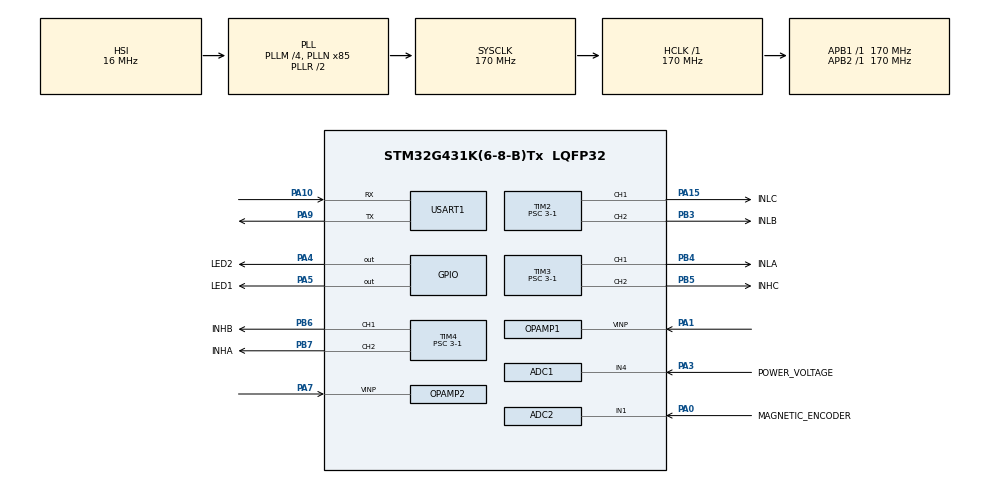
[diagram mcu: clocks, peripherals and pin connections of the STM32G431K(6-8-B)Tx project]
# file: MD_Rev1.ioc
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ADC1.Channel-1\#ChannelRegularConversion=ADC_CHANNEL_4
ADC1.Channel-2\#ChannelRegularConversion=ADC_CHANNEL_4
ADC1.ContinuousConvMode=ENABLE
ADC1.DMAContinuousRequests=ENABLE
ADC1.EOCSelection=ADC_EOC_SEQ_CONV
ADC1.NbrOfConversion=2
ADC1.NbrOfConversionFlag=1
ADC1.OffsetNumber-1\#ChannelRegularConversion=ADC_OFFSET_NONE
ADC1.OffsetNumber-2\#ChannelRegularConversion=ADC_OFFSET_NONE
ADC1.Rank-1\#ChannelRegularConversion=1
ADC1.Rank-2\#ChannelRegularConversion=2
ADC1.SamplingTime-1\#ChannelRegularConversion=ADC_SAMPLETIME_12CYCLES_5
ADC1.SamplingTime-2\#ChannelRegularConversion=ADC_SAMPLETIME_12CYCLES_5
ADC1.master=1
ADC2.Channel-0\#ChannelRegularConversion=ADC_CHANNEL_1
ADC2.Channel-1\#ChannelRegularConversion=ADC_CHANNEL_1
ADC2.ContinuousConvMode=ENABLE
ADC2.DMAContinuousRequests=ENABLE
ADC2.EOCSelection=ADC_EOC_SEQ_CONV
ADC2.NbrOfConversion=2
ADC2.NbrOfConversionFlag=1
ADC2.OffsetNumber-0\#ChannelRegularConversion=ADC_OFFSET_NONE
ADC2.OffsetNumber-1\#ChannelRegularConversion=ADC_OFFSET_NONE
ADC2.Rank-0\#ChannelRegularConversion=1
ADC2.Rank-1\#ChannelRegularConversion=2
ADC2.SamplingTime-0\#ChannelRegularConversion=ADC_SAMPLETIME_12CYCLES_5
ADC2.SamplingTime-1\#ChannelRegularConversion=ADC_SAMPLETIME_12CYCLES_5
Dma.ADC1.0.Direction=DMA_PERIPH_TO_MEMORY
Dma.ADC1.0.EventEnable=DISABLE
Dma.ADC1.0.Instance=DMA1_Channel1
Dma.ADC1.0.MemDataAlignment=DMA_MDATAALIGN_HALFWORD
Dma.ADC1.0.MemInc=DMA_MINC_ENABLE
Dma.ADC1.0.Mode=DMA_CIRCULAR
Dma.ADC1.0.PeriphDataAlignment=DMA_PDATAALIGN_HALFWORD
Dma.ADC1.0.PeriphInc=DMA_PINC_DISABLE
Dma.ADC1.0.Polarity=HAL_DMAMUX_REQ_GEN_RISING
Dma.ADC1.0.Priority=DMA_PRIORITY_LOW
Dma.ADC1.0.RequestNumber=1
Dma.ADC1.0.SignalID=NONE
Dma.ADC1.0.SyncEnable=DISABLE
Dma.ADC1.0.SyncPolarity=HAL_DMAMUX_SYNC_NO_EVENT
Dma.ADC1.0.SyncRequestNumber=1
Dma.ADC1.0.SyncSignalID=NONE
Dma.ADC2.1.Direction=DMA_PERIPH_TO_MEMORY
Dma.ADC2.1.EventEnable=DISABLE
Dma.ADC2.1.Instance=DMA1_Channel2
Dma.ADC2.1.MemDataAlignment=DMA_MDATAALIGN_HALFWORD
Dma.ADC2.1.MemInc=DMA_MINC_ENABLE
Dma.ADC2.1.Mode=DMA_CIRCULAR
Dma.ADC2.1.PeriphDataAlignment=DMA_PDATAALIGN_HALFWORD
Dma.ADC2.1.PeriphInc=DMA_PINC_DISABLE
Dma.ADC2.1.Polarity=HAL_DMAMUX_REQ_GEN_RISING
Dma.ADC2.1.Priority=DMA_PRIORITY_LOW
Dma.ADC2.1.RequestNumber=1
Dma.ADC2.1.SignalID=NONE
Dma.ADC2.1.SyncEnable=DISABLE
Dma.ADC2.1.SyncPolarity=HAL_DMAMUX_SYNC_NO_EVENT
Dma.ADC2.1.SyncRequestNumber=1
Dma.ADC2.1.SyncSignalID=NONE
Dma.Request0=ADC1
Dma.Request1=ADC2
Mcu.Family=STM32G4
Mcu.Name=STM32G431K(6-8-B)Tx
Mcu.Package=LQFP32
NVIC.DMA1_Channel1_IRQn=true\:0\:0\:false\:false\:true\:false\:true\:true
NVIC.DMA1_Channel2_IRQn=true\:0\:0\:false\:false\:true\:false\:true\:true
NVIC.PriorityGroup=NVIC_PRIORITYGROUP_4
NVIC.TIM1_BRK_TIM15_IRQn=true\:0\:0\:false\:false\:true\:true\:true\:true
NVIC.TIM1_TRG_COM_TIM17_IRQn=true\:0\:0\:false\:false\:true\:true\:true\:true
NVIC.TIM1_UP_TIM16_IRQn=true\:0\:0\:false\:false\:true\:true\:true\:true
OPAMP1.PgaGain=OPAMP_PGA_GAIN_64_OR_MINUS_63
OPAMP2.PgaGain=OPAMP_PGA_GAIN_64_OR_MINUS_63
PA0.GPIO_Label=MAGNETIC_ENCODER
PA0.Mode=IN1-Single-Ended
PA0.Signal=ADC2_IN1
PA1.Mode=PGA_Internally_Connected
PA1.Signal=OPAMP1_VINP
PA10.Mode=Asynchronous
PA10.Signal=USART1_RX
PA15.GPIO_Label=INLC
PA15.Signal=S_TIM2_CH1
PA2.Signal=OPAMP1_VOUT
PA3.GPIO_Label=POWER_VOLTAGE
PA3.Mode=IN4-Single-Ended
PA3.Signal=ADC1_IN4
PA4.GPIO_Label=LED2
PA4.Signal=GPIO_Output
PA5.GPIO_Label=LED1
PA5.Signal=GPIO_Output
PA6.Signal=OPAMP2_VOUT
PA7.Signal=SharedAnalog_PA7
PA9.Mode=Asynchronous
PA9.Signal=USART1_TX
PB3.GPIO_Label=INLB
PB3.Signal=S_TIM2_CH2
PB4.GPIO_Label=INLA
PB4.Signal=S_TIM3_CH1
PB5.GPIO_Label=INHC
PB5.Signal=S_TIM3_CH2
PB6.GPIO_Label=INHB
PB6.Signal=S_TIM4_CH1
PB7.GPIO_Label=INHA
PB7.Signal=S_TIM4_CH2
ProjectManager.HeapSize=0x200
ProjectManager.StackSize=0x400
ProjectManager.TargetToolchain=CMake
RCC.ADC12Freq_Value=170000000
RCC.AHBFreq_Value=170000000
RCC.APB1Freq_Value=170000000
RCC.APB1TimFreq_Value=170000000
RCC.APB2Freq_Value=170000000
RCC.APB2TimFreq_Value=170000000
RCC.CortexFreq_Value=170000000
RCC.EXTERNAL_CLOCK_VALUE=12288000
RCC.HCLKFreq_Value=170000000
RCC.HSE_VALUE=8000000
RCC.HSI48_VALUE=48000000
RCC.HSI_VALUE=16000000
RCC.LSE_VALUE=32768
RCC.PLLM=RCC_PLLM_DIV4
RCC.PLLN=85
RCC.SYSCLKFreq_VALUE=170000000
RCC.SYSCLKSource=RCC_SYSCLKSOURCE_PLLCLK
RCC.USBFreq_Value=170000000
RCC.VCOOutputFreq_Value=340000000
SH.S_TIM2_CH1.0=TIM2_CH1,PWM Generation1 CH1
SH.S_TIM2_CH2.0=TIM2_CH2,PWM Generation2 CH2
SH.S_TIM3_CH1.0=TIM3_CH1,PWM Generation1 CH1
SH.S_TIM3_CH2.0=TIM3_CH2,PWM Generation2 CH2
SH.S_TIM4_CH1.0=TIM4_CH1,PWM Generation1 CH1
SH.S_TIM4_CH2.0=TIM4_CH2,PWM Generation2 CH2
SH.SharedAnalog_PA7.0=OPAMP1_VINP_SEC
SH.SharedAnalog_PA7.1=OPAMP2_VINP,PGA_Internally_Connected
TIM15.PeriodNoDither=10-1
TIM15.Prescaler=17-1
TIM16.PeriodNoDither=1000-1
TIM16.Prescaler=170-1
TIM17.PeriodNoDither=5000-1
TIM17.Prescaler=34000-1
TIM2.Channel-PWM\ Generation1\ CH1=TIM_CHANNEL_1
TIM2.Channel-PWM\ Generation2\ CH2=TIM_CHANNEL_2
TIM2.PeriodNoDither=1024-1
TIM2.Prescaler=3-1
TIM2.TIM_MasterOutputTrigger=TIM_TRGO_OC2REF
TIM2.TIM_MasterSlaveMode=TIM_MASTERSLAVEMODE_ENABLE
TIM3.Channel-PWM\ Generation1\ CH1=TIM_CHANNEL_1
TIM3.Channel-PWM\ Generation2\ CH2=TIM_CHANNEL_2
TIM3.OCMode_PWM-PWM\ Generation2\ CH2=TIM_OCMODE_PWM2
TIM3.PeriodNoDither=1024-1
TIM3.Prescaler=3-1
TIM3.TIM_MasterSlaveMode=TIM_MASTERSLAVEMODE_ENABLE
TIM4.Channel-PWM\ Generation1\ CH1=TIM_CHANNEL_1
TIM4.Channel-PWM\ Generation2\ CH2=TIM_CHANNEL_2
TIM4.OCMode_PWM-PWM\ Generation1\ CH1=TIM_OCMODE_PWM2
TIM4.OCMode_PWM-PWM\ Generation2\ CH2=TIM_OCMODE_PWM2
TIM4.PeriodNoDither=1024-1
TIM4.Prescaler=3-1
USART1.VirtualMode-Asynchronous=VM_ASYNC
VP_ADC1_OPAMP_INTERNAL1.Mode=IN-OPAMP1
VP_ADC2_OPAMP_INTERNAL2.Mode=IN-OPAMP2
VP_SYS_VS_DBSignals.Mode=DisableDeadBatterySignals
VP_TIM15_VS_ClockSourceINT.Mode=Internal
VP_TIM16_VS_ClockSourceINT.Mode=Enable_Timer
VP_TIM17_VS_ClockSourceINT.Mode=Enable_Timer
VP_TIM2_VS_ClockSourceINT.Mode=Internal
VP_TIM3_VS_ClockSourceINT.Mode=Internal
VP_TIM3_VS_ClockSourceITR.Mode=TriggerSource_ITR2
VP_TIM3_VS_ControllerModeTrigger.Mode=Trigger Mode
VP_TIM4_VS_ClockSourceINT.Mode=Internal
VP_TIM4_VS_ClockSourceITR.Mode=TriggerSource_ITR2
VP_TIM4_VS_ControllerModeTrigger.Mode=Trigger Mode
board=custom

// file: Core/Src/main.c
/* USER CODE BEGIN Header */
/**
 ******************************************************************************
 * @file           : main.c
 * @brief          : Main program body
 ******************************************************************************
 * @attention
 *
 * Copyright (c) 2024 STMicroelectronics.
 * All rights reserved.
 *
 * This software is licensed under terms that can be found in the LICENSE file
 * in the root directory of this software component.
 * If no LICENSE file comes with this software, it is provided AS-IS.
 *
 ******************************************************************************
 */
/* USER CODE END Header */
#include "main.h"

#include "adc.h"
#include "dma.h"
#include "gpio.h"
#include "opamp.h"
#include "tim.h"
#include "usart.h"

/* USER CODE BEGIN Includes */
#include <stdio.h>
/* USER CODE END Includes */

/* USER CODE BEGIN PD */
#define ADC1_CHANNELS 2
#define ADC2_CHANNELS 2
/* USER CODE END PD */

/* USER CODE BEGIN PV */
// Variables for the ADCs
uint32_t adc1_value[ADC1_CHANNELS] = {0};  // 1: MAGNETIC_ENCODER, 2: CURRENT_SENSOR_A
uint32_t adc2_value[ADC2_CHANNELS] = {0};  // 1: BATTERY_VOLTAGE, 2: CURRENT_SENSOR_B
/* USER CODE END PV */

void SystemClock_Config(void);

/* USER CODE BEGIN 0 */
asm(".global _printf_float");
/* USER CODE END 0 */

int main(void) {

    /* MCU Configuration--------------------------------------------------------*/

    /* Reset of all peripherals, Initializes the Flash interface and the Systick. */
    HAL_Init();

    /* Configure the system clock */
    SystemClock_Config();

    /* Initialize all configured peripherals */
    MX_GPIO_Init();
    MX_DMA_Init();
    MX_ADC1_Init();
    MX_ADC2_Init();
    MX_TIM2_Init();
    MX_TIM3_Init();
    MX_OPAMP1_Init();
    MX_OPAMP2_Init();
    MX_TIM4_Init();
    MX_TIM15_Init();
    MX_TIM16_Init();
    MX_TIM17_Init();
    MX_USART1_UART_Init();
    /* USER CODE BEGIN 2 */
    setbuf(stdout, NULL);

    // Start the timers
    // HAL_TIM_Base_Start_IT(&htim15);  // 1 MHz
    // HAL_TIM_Base_Start_IT(&htim16);  // 1 kHz
    // HAL_TIM_Base_Start_IT(&htim17);  // 1 Hz

    // Initialize the PWM signal
    HAL_TIM_PWM_Start(&htim2, TIM_CHANNEL_1);  // INLC
    HAL_TIM_PWM_Start(&htim2, TIM_CHANNEL_2);  // INLB
    HAL_TIM_PWM_Start(&htim3, TIM_CHANNEL_1);  // INLA
    HAL_TIM_PWM_Start(&htim3, TIM_CHANNEL_2);  // INHC
    HAL_TIM_PWM_Start(&htim4, TIM_CHANNEL_1);  // INHB
    HAL_TIM_PWM_Start(&htim4, TIM_CHANNEL_2);  // INHA

    // Start the ADCs
    HAL_ADC_Start_DMA(&hadc1, (uint32_t *)adc1_value, ADC1_CHANNELS);
    HAL_ADC_Start_DMA(&hadc2, (uint32_t *)adc2_value, ADC2_CHANNELS);
    /* USER CODE END 2 */

    /* Infinite loop */
    while (1) {

        /* USER CODE BEGIN 3 */
        printf("Hello, World!\n");
        HAL_GPIO_WritePin(LED1_GPIO_Port, LED1_Pin, GPIO_PIN_SET);
        HAL_GPIO_WritePin(LED2_GPIO_Port, LED2_Pin, GPIO_PIN_RESET);
        HAL_Delay(1000);
        HAL_GPIO_WritePin(LED1_GPIO_Port, LED1_Pin, GPIO_PIN_RESET);
        HAL_GPIO_WritePin(LED2_GPIO_Port, LED2_Pin, GPIO_PIN_SET);
        HAL_Delay(1000);
    }
    /* USER CODE END 3 */
}

void SystemClock_Config(void) {
    RCC_OscInitTypeDef RCC_OscInitStruct = {0};
    RCC_ClkInitTypeDef RCC_ClkInitStruct = {0};

    /** Configure the main internal regulator output voltage
     */
    HAL_PWREx_ControlVoltageScaling(PWR_REGULATOR_VOLTAGE_SCALE1_BOOST);

    /** Initializes the RCC Oscillators according to the specified parameters
     * in the RCC_OscInitTypeDef structure.
     */
    RCC_OscInitStruct.OscillatorType = RCC_OSCILLATORTYPE_HSI;
    RCC_OscInitStruct.HSIState = RCC_HSI_ON;
    RCC_OscInitStruct.HSICalibrationValue = RCC_HSICALIBRATION_DEFAULT;
    RCC_OscInitStruct.PLL.PLLState = RCC_PLL_ON;
    RCC_OscInitStruct.PLL.PLLSource = RCC_PLLSOURCE_HSI;
    RCC_OscInitStruct.PLL.PLLM = RCC_PLLM_DIV4;
    RCC_OscInitStruct.PLL.PLLN = 85;
    RCC_OscInitStruct.PLL.PLLP = RCC_PLLP_DIV2;
    RCC_OscInitStruct.PLL.PLLQ = RCC_PLLQ_DIV2;
    RCC_OscInitStruct.PLL.PLLR = RCC_PLLR_DIV2;
    if (HAL_RCC_OscConfig(&RCC_OscInitStruct) != HAL_OK) {
        Error_Handler();
    }

    /** Initializes the CPU, AHB and APB buses clocks
     */
    RCC_ClkInitStruct.ClockType = RCC_CLOCKTYPE_HCLK | RCC_CLOCKTYPE_SYSCLK | RCC_CLOCKTYPE_PCLK1 | RCC_CLOCKTYPE_PCLK2;
    RCC_ClkInitStruct.SYSCLKSource = RCC_SYSCLKSOURCE_PLLCLK;
    RCC_ClkInitStruct.AHBCLKDivider = RCC_SYSCLK_DIV1;
    RCC_ClkInitStruct.APB1CLKDivider = RCC_HCLK_DIV1;
    RCC_ClkInitStruct.APB2CLKDivider = RCC_HCLK_DIV1;

    if (HAL_RCC_ClockConfig(&RCC_ClkInitStruct, FLASH_LATENCY_4) != HAL_OK) {
        Error_Handler();
    }
}

/* USER CODE BEGIN 4 */

// Redirect printf to UART
int _write(int file, char *ptr, int len) {
    HAL_UART_Transmit(&huart1, (uint8_t *)ptr, len, 50);
    return len;
}

// Interrupt handler for TIM15, TIM16, TIM17
// TIM15: 1 MHz, TIM16 1 kHz, TIM17 1 Hz
void HAL_TIM_PeriodElapsedCallback(TIM_HandleTypeDef *htim) {
    if (htim == &htim15) {         // 1 MHz
    } else if (htim == &htim16) {  // 1 kHz
    } else if (htim == &htim17) {  // 1 Hz
    }
}
/* USER CODE END 4 */

void Error_Handler(void) {
    __disable_irq();
    while (1) {
    }
}
